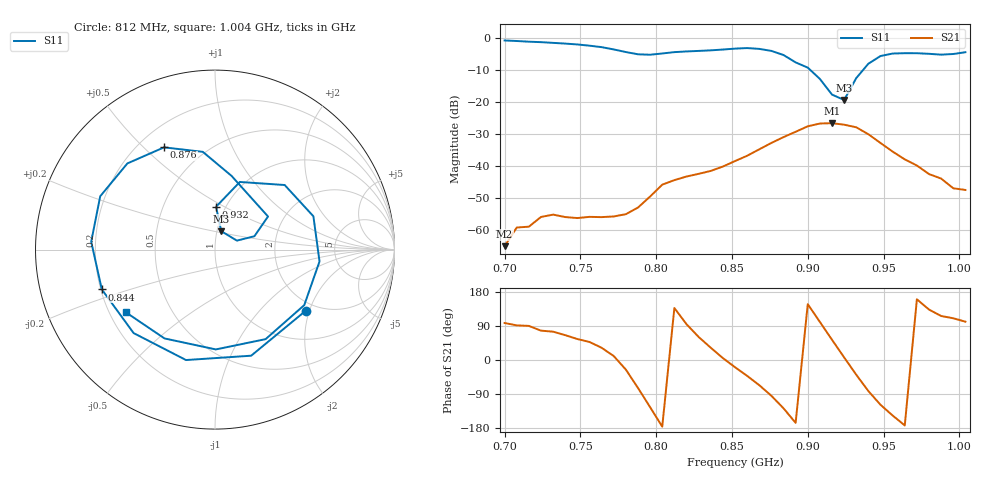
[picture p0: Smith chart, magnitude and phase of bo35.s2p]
# Hz S RI R 50
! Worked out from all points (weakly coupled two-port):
!   39 points, 700 MHz to 1.004 GHz, reference 50 ohm
!   highest |S21| = -26.55 dB at 916 MHz (marker M1); lowest = -65.0 dB at 700 MHz (marker M2)
!   lowest |S11| = -19.3 dB at 924 MHz (marker M3), VSWR 1.24, Z = 52.4 + j10.9 ohm
!   |S11| at or under -10 dB: 901.9 MHz to 936.3 MHz (34.42 MHz wide, 3.75 % of centre)
!   S12 and S22 are empty: the file has one direction only
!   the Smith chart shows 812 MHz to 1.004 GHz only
!   S11 on the Smith chart (normalised r, x): 812 MHz: 1.74, -1.89; 844 MHz: 0.20, -0.16; 876 MHz: 0.30, +0.58; 932 MHz: 0.90, +0.46; 1.004 GHz: 0.27, -0.30
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7e8  0.7648 0.5247  -7.36e-05 0.000554  0 0  0 0
7.24e8  0.8318 -0.2635  0.000348 0.00156  0 0  0 0
7.4e8  0.4399 -0.7022  0.000661 0.00145  0 0  0 0
7.56e8  -0.2033 -0.7409  0.00109 0.00119  0 0  0 0
7.72e8  -0.6497 -0.1676  0.00161 0.000295  0 0  0 0
7.8e8  -0.558 0.2489  0.0016 -0.000758  0 0  0 0
7.88e8  -0.189 0.5306  0.000627 -0.00216  0 0  0 0
7.96e8  0.2921 0.4714  -0.0019 -0.00276  0 0  0 0
8.04e8  0.5724 0.0934  -0.00512 -0.000366  0 0  0 0
8.12e8  0.5044 -0.3415  -0.00443 0.00411  0 0  0 0
8.28e8  -0.1615 -0.6153  0.00369 0.00662  0 0  0 0
8.44e8  -0.6305 -0.222  0.00982 0.000882  0 0  0 0
8.52e8  -0.6897 0.0435  0.0114 -0.00392  0 0  0 0
8.76e8  -0.2838 0.5697  -0.00178 -0.023  0 0  0 0
9e8  0.2954 0.1845  -0.0354 0.0226  0 0  0 0
9.08e8  0.2196 0.0746  -0.0084 0.0457  0 0  0 0
9.16e8  0.1219 0.05  0.0281 0.0377  0 0  0 0
9.24e8  0.0348 0.1028  0.0443 0.00535  0 0  0 0
9.32e8  0.00592 0.2388  0.0316 -0.0255  0 0  0 0
9.56e8  0.5482 0.1855  -0.0141 -0.00934  0 0  0 0
9.8e8  0.2821 -0.4988  -0.00513 0.00549  0 0  0 0
1.004e9  -0.4961 -0.3497  -0.000816 0.00416  0 0  0 0
